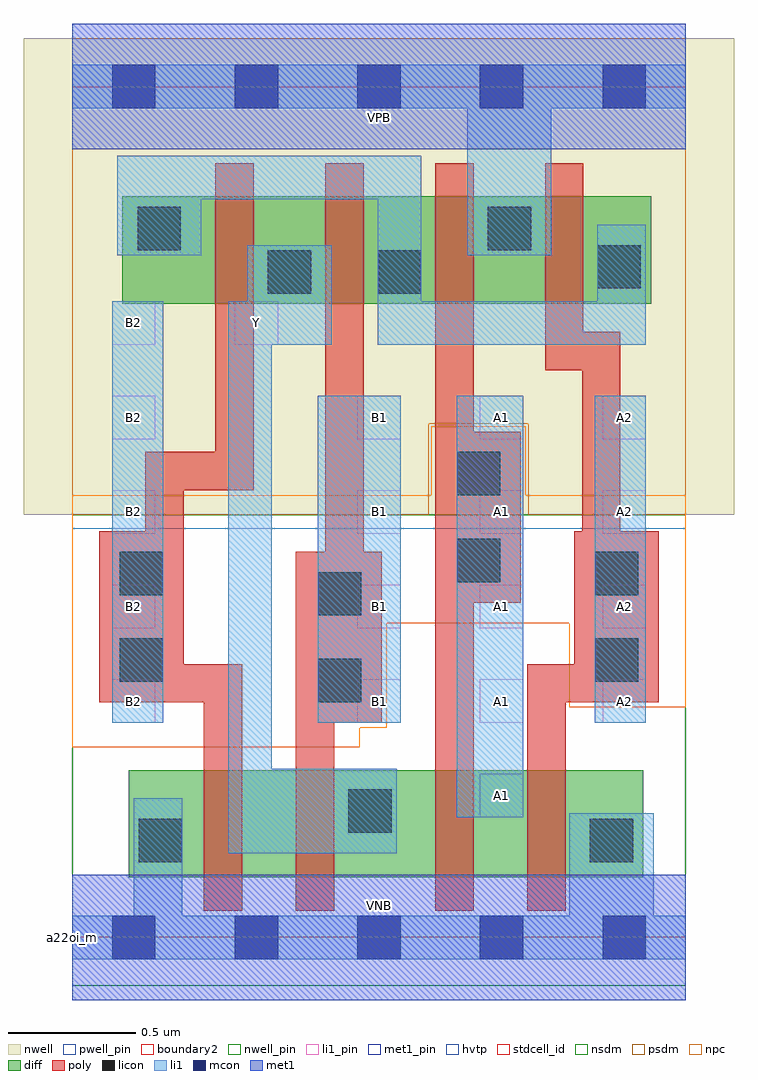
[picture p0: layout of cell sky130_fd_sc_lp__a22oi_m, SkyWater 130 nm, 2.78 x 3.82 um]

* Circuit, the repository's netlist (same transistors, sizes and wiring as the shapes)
* Copyright 2020 The SkyWater PDK Authors
*
* Licensed under the Apache License, Version 2.0 (the "License");
* you may not use this file except in compliance with the License.
* You may obtain a copy of the License at
*
*     https://www.apache.org/licenses/LICENSE-2.0
*
* Unless required by applicable law or agreed to in writing, software
* distributed under the License is distributed on an "AS IS" BASIS,
* WITHOUT WARRANTIES OR CONDITIONS OF ANY KIND, either express or implied.
* See the License for the specific language governing permissions and
* limitations under the License.
*
* SPDX-License-Identifier: Apache-2.0

.SUBCKT sky130_fd_sc_lp__a22oi_m A1 A2 B1 B2 VGND VNB VPB VPWR Y
*.PININFO A1:I A2:I B1:I B2:I VGND:I VNB:I VPB:I VPWR:I Y:O
MMPA0 pndA A1 VPWR VPB sky130_fd_pr__pfet_01v8_hvt m=1 w=0.42U l=0.15U mult=1 sa=0.265
+ sb=0.265 sd=0.28 area=0.063 perim=1.14
MMPA1 pndA A2 VPWR VPB sky130_fd_pr__pfet_01v8_hvt m=1 w=0.42U l=0.15U mult=1 sa=0.265
+ sb=0.265 sd=0.28 area=0.063 perim=1.14
MMPB0 Y B1 pndA VPB sky130_fd_pr__pfet_01v8_hvt m=1 w=0.42U l=0.15U mult=1 sa=0.265
+ sb=0.265 sd=0.28 area=0.063 perim=1.14
MMPB1 Y B2 pndA VPB sky130_fd_pr__pfet_01v8_hvt m=1 w=0.42U l=0.15U mult=1 sa=0.265
+ sb=0.265 sd=0.28 area=0.063 perim=1.14
MMNA0 Y A1 sndA1 VNB sky130_fd_pr__nfet_01v8 m=1 w=0.42U l=0.15U mult=1 sa=0.265
+ sb=0.265 sd=0.28 area=0.063 perim=1.14
MMNA1 sndA1 A2 VGND VNB sky130_fd_pr__nfet_01v8 m=1 w=0.42U l=0.15U mult=1 sa=0.265
+ sb=0.265 sd=0.28 area=0.063 perim=1.14
MMNB0 Y B1 sndB1 VNB sky130_fd_pr__nfet_01v8 m=1 w=0.42U l=0.15U mult=1 sa=0.265
+ sb=0.265 sd=0.28 area=0.063 perim=1.14
MMNB1 sndB1 B2 VGND VNB sky130_fd_pr__nfet_01v8 m=1 w=0.42U l=0.15U mult=1 sa=0.265
+ sb=0.265 sd=0.28 area=0.063 perim=1.14
.ENDS sky130_fd_sc_lp__a22oi_m

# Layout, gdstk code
import gdstk
lib = gdstk.Library(unit=1e-6, precision=1e-09)
def R(c, l, rs):  # rectangles x0, y0, x1, y1
    for r in rs: c.add(gdstk.rectangle(r[:2], r[2:], *l))
def A(c, l, x, y, w, h, nx, ny, dx, dy):  # array of equal rectangles
    R(c, l, [(x+i*dx, y+j*dy, x+i*dx+w, y+j*dy+h) for i in range(nx) for j in range(ny)])
def P(c, l, *ps):  # polygons
    for p in ps: c.add(gdstk.Polygon(p, *l))
nwell_pin = (64, 16)
nwell = (64, 20)
diff = (65, 20)
poly = (66, 20)
licon = (66, 44)
li1_pin = (67, 16)
li1 = (67, 20)
mcon = (67, 44)
met1_pin = (68, 16)
met1 = (68, 20)
hvtp = (78, 44)
stdcell_id = (81, 4)
nsdm = (93, 44)
psdm = (94, 20)
npc = (95, 20)
pwell_pin = (122, 16)
boundary2 = (236, 0)

sky130_fd_sc_lp__a22oi_m = lib.new_cell('sky130_fd_sc_lp__a22oi_m')
R(sky130_fd_sc_lp__a22oi_m, nwell_pin, [(0,3.085,2.4,3.33)])
R(sky130_fd_sc_lp__a22oi_m, nwell, [(-0.19,1.655,2.59,3.52)])
R(sky130_fd_sc_lp__a22oi_m, diff, [(0.22,0.235,2.235,0.655), (0.195,2.48,2.265,2.9)])
P(sky130_fd_sc_lp__a22oi_m, poly, [(0.71,3.03),(0.56,3.03),(0.56,1.9),(0.285,1.9),(0.285,1.59),(0.105,1.59),(0.105,0.92),(0.515,0.92),(0.515,0.105),(0.665,0.105),(0.665,1.07),(0.435,1.07),(0.435,1.75),(0.71,1.75)],
  [(1.21,1.51),(1.14,1.51),(1.14,3.03),(0.99,3.03),(0.99,1.51),(0.875,1.51),(0.875,0.105),(1.025,0.105),(1.025,0.84),(1.21,0.84)],
  [(1.755,1.98),(1.57,1.98),(1.57,3.03),(1.42,3.03),(1.42,0.105),(1.57,0.105),(1.57,1.31),(1.755,1.31)],
  [(2.295,1.59),(2.145,1.59),(2.145,2.37),(2,2.37),(2,3.03),(1.85,3.03),(1.85,2.22),(1.995,2.22),(1.995,1.59),(1.965,1.59),(1.965,1.07),(1.78,1.07),(1.78,0.105),(1.93,0.105),(1.93,0.92),(2.295,0.92)])
R(sky130_fd_sc_lp__a22oi_m, licon, [(0.26,0.295,0.43,0.465), (2.025,0.295,2.195,0.465), (1.08,0.41,1.25,0.58), (0.96,0.92,1.13,1.09), (0.185,1,0.355,1.17), (2.045,1,2.215,1.17), (0.96,1.26,1.13,1.43), (0.185,1.34,0.355,1.51), (2.045,1.34,2.215,1.51), (1.505,1.39,1.675,1.56), (1.505,1.73,1.675,1.9), (0.765,2.52,0.935,2.69), (1.195,2.52,1.365,2.69), (2.055,2.54,2.225,2.71), (0.255,2.69,0.425,2.86), (1.625,2.69,1.795,2.86)])
A(sky130_fd_sc_lp__a22oi_m, li1_pin, 0.155, 0.84, 0.17, 0.17, 1, 5, 0, 0.37)
A(sky130_fd_sc_lp__a22oi_m, li1_pin, 1.115, 0.84, 0.17, 0.17, 3, 4, 0.48, 0.37)
R(sky130_fd_sc_lp__a22oi_m, li1_pin, [(1.595,0.47,1.765,0.64), (0.635,2.32,0.805,2.49)])
R(sky130_fd_sc_lp__a22oi_m, li1, [(1.505,0.47,1.765,2.12), (0.155,0.84,0.355,2.49), (0.96,0.84,1.285,2.12), (2.045,0.84,2.245,2.12)])
P(sky130_fd_sc_lp__a22oi_m, li1, [(1.545,2.67),(1.545,3.245),(0,3.245),(0,3.415),(2.4,3.415),(2.4,3.245),(1.875,3.245),(1.875,2.67)],
  [(1.945,0.085),(1.945,0.485),(2.275,0.485),(2.275,0.085),(2.4,0.085),(2.4,-0.085),(0,-0.085),(0,0.085),(0.24,0.085),(0.24,0.545),(0.43,0.545),(0.43,0.085)],
  [(0.61,0.33),(0.61,2.49),(0.685,2.49),(0.685,2.71),(1.015,2.71),(1.015,2.32),(0.78,2.32),(0.78,0.66),(1.27,0.66),(1.27,0.33)],
  [(1.365,2.49),(2.055,2.49),(2.055,2.79),(2.245,2.79),(2.245,2.32),(1.195,2.32),(1.195,2.89),(0.505,2.89),(0.505,2.67),(0.175,2.67),(0.175,3.06),(1.365,3.06)])
A(sky130_fd_sc_lp__a22oi_m, mcon, 0.155, -0.085, 0.17, 0.17, 5, 2, 0.48, 3.33)
R(sky130_fd_sc_lp__a22oi_m, met1_pin, [(0,0,2.4,0.245), (0,3.085,2.4,3.33)])
R(sky130_fd_sc_lp__a22oi_m, met1, [(0,-0.245,2.4,0.245), (0,3.085,2.4,3.575)])
R(sky130_fd_sc_lp__a22oi_m, hvtp, [(0,1.6,2.4,3.33)])
R(sky130_fd_sc_lp__a22oi_m, stdcell_id, [(0,0,2.4,3.33)])
R(sky130_fd_sc_lp__a22oi_m, nsdm, [(0,-0.19,2.4,1.655)])
P(sky130_fd_sc_lp__a22oi_m, psdm, [(2.4,3.52),(0,3.52),(0,1.655),(1.395,1.655),(1.395,2.01),(1.785,2.01),(1.785,1.655),(2.4,1.655)])
P(sky130_fd_sc_lp__a22oi_m, npc, [(2.4,1.73),(1.775,1.73),(1.775,2),(1.405,2),(1.405,1.73),(0,1.73),(0,0.745),(1.125,0.745),(1.125,0.82),(1.23,0.82),(1.23,1.23),(1.945,1.23),(1.945,0.9),(2.4,0.9)])
R(sky130_fd_sc_lp__a22oi_m, pwell_pin, [(0,0,2.4,0.245)])
R(sky130_fd_sc_lp__a22oi_m, boundary2, [(0,0,2.4,3.33)])
sky130_fd_sc_lp__a22oi_m.add(gdstk.Label('VNB', (1.2,0.123), layer=64, texttype=59))
sky130_fd_sc_lp__a22oi_m.add(gdstk.Label('VPB', (1.2,3.208), layer=64, texttype=5))
sky130_fd_sc_lp__a22oi_m.add(gdstk.Label('a22oi_m', (0,0), layer=83, texttype=44))
sky130_fd_sc_lp__a22oi_m.add(gdstk.Label('VPWR', (1.2,3.208), layer=68, texttype=5))
sky130_fd_sc_lp__a22oi_m.add(gdstk.Label('VGND', (1.2,0.123), layer=68, texttype=5))
sky130_fd_sc_lp__a22oi_m.add(gdstk.Label('A1', (1.68,0.555), layer=67, texttype=5))
sky130_fd_sc_lp__a22oi_m.add(gdstk.Label('A1', (1.68,0.925), layer=67, texttype=5))
sky130_fd_sc_lp__a22oi_m.add(gdstk.Label('A1', (1.68,1.295), layer=67, texttype=5))
sky130_fd_sc_lp__a22oi_m.add(gdstk.Label('A1', (1.68,1.665), layer=67, texttype=5))
sky130_fd_sc_lp__a22oi_m.add(gdstk.Label('A1', (1.68,2.035), layer=67, texttype=5))
sky130_fd_sc_lp__a22oi_m.add(gdstk.Label('A2', (2.16,0.925), layer=67, texttype=5))
sky130_fd_sc_lp__a22oi_m.add(gdstk.Label('A2', (2.16,1.295), layer=67, texttype=5))
sky130_fd_sc_lp__a22oi_m.add(gdstk.Label('A2', (2.16,1.665), layer=67, texttype=5))
sky130_fd_sc_lp__a22oi_m.add(gdstk.Label('A2', (2.16,2.035), layer=67, texttype=5))
sky130_fd_sc_lp__a22oi_m.add(gdstk.Label('B1', (1.2,0.925), layer=67, texttype=5))
sky130_fd_sc_lp__a22oi_m.add(gdstk.Label('B1', (1.2,1.295), layer=67, texttype=5))
sky130_fd_sc_lp__a22oi_m.add(gdstk.Label('B1', (1.2,1.665), layer=67, texttype=5))
sky130_fd_sc_lp__a22oi_m.add(gdstk.Label('B1', (1.2,2.035), layer=67, texttype=5))
sky130_fd_sc_lp__a22oi_m.add(gdstk.Label('B2', (0.24,0.925), layer=67, texttype=5))
sky130_fd_sc_lp__a22oi_m.add(gdstk.Label('B2', (0.24,1.295), layer=67, texttype=5))
sky130_fd_sc_lp__a22oi_m.add(gdstk.Label('B2', (0.24,1.665), layer=67, texttype=5))
sky130_fd_sc_lp__a22oi_m.add(gdstk.Label('B2', (0.24,2.035), layer=67, texttype=5))
sky130_fd_sc_lp__a22oi_m.add(gdstk.Label('B2', (0.24,2.405), layer=67, texttype=5))
sky130_fd_sc_lp__a22oi_m.add(gdstk.Label('Y', (0.72,2.405), layer=67, texttype=5))

lib.write_gds('sky130_fd_sc_lp__a22oi_m.gds')
